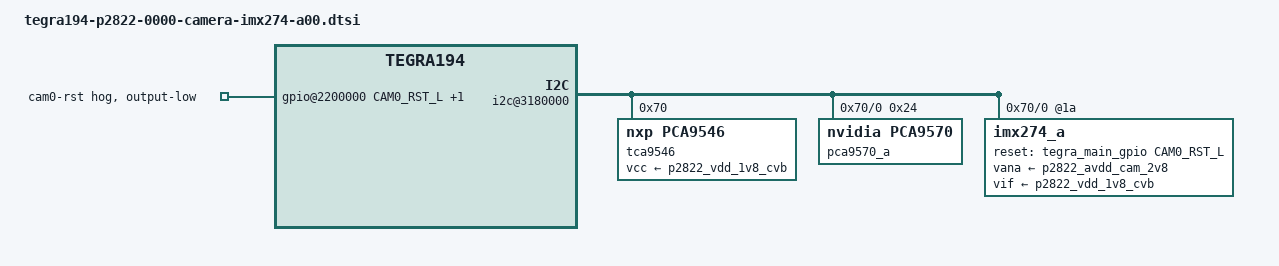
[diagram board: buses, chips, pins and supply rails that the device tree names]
/*
 * Copyright (c) 2017-2018, NVIDIA CORPORATION.  All rights reserved.
 *
 * This program is free software; you can redistribute it and/or modify
 * it under the terms of the GNU General Public License as published by
 * the Free Software Foundation; either version 2 of the License, or
 * (at your option) any later version.
 *
 * This program is distributed in the hope that it will be useful, but WITHOUT
 * ANY WARRANTY; without even the implied warranty of MERCHANTABILITY or
 * FITNESS FOR A PARTICULAR PURPOSE.  See the GNU General Public License for
 * more details.
 *
 * You should have received a copy of the GNU General Public License
 * along with this program.  If not, see <http://www.gnu.org/licenses/>.
 */
#include <t19x-common-modules/tegra194-camera-imx274-a00.dtsi>
#include "dt-bindings/clock/tegra194-clock.h"

#define CAM0_RST_L	TEGRA194_MAIN_GPIO(H, 3)
#define CAM0_PWDN	TEGRA194_MAIN_GPIO(H, 6)
#define CAMERA_I2C_MUX_BUS(x) (0x1E + x)

/* camera control gpio definitions */

/ {
	gpio@2200000 {
		camera-control-output-low {
			gpio-hog;
			output-low;
			gpios = <CAM0_RST_L 0 CAM0_PWDN 0>;
			label = "cam0-rst", "cam0-pwdn";
		};
	};

	i2c@3180000 {
		tca9546@70 {
			compatible = "nxp,pca9546";
			reg = <0x70>;
			#address-cells = <1>;
			#size-cells = <0>;
			skip_mux_detect = "yes";
			vcc-supply = <&p2822_vdd_1v8_cvb>;
			vcc_lp = "vcc";
                        force_bus_start = <CAMERA_I2C_MUX_BUS(0)>;

			i2c@0 {
				reg = <0>;
				i2c-mux,deselect-on-exit;
				#address-cells = <1>;
				#size-cells = <0>;
				pca9570_a@24 {
					compatible = "nvidia,pca9570";
					reg = <0x24>;
					channel = "a";
					drive_ic = "DRV8838";
				};

				imx274_a@1a {
					/* Define any required hw resources needed by driver */
					/* ie. clocks, io pins, power sources */
					clocks = <&bpmp_clks TEGRA194_CLK_EXTPERIPH1>,
							 <&bpmp_clks TEGRA194_CLK_EXTPERIPH1>;
					clock-names = "extperiph1", "pllp_grtba";
					mclk = "extperiph1";
					reset-gpios = <&tegra_main_gpio CAM0_RST_L GPIO_ACTIVE_HIGH>;
					vana-supply = <&p2822_avdd_cam_2v8>;
					vif-supply = <&p2822_vdd_1v8_cvb>;
				};
			};
		};
	};
};
